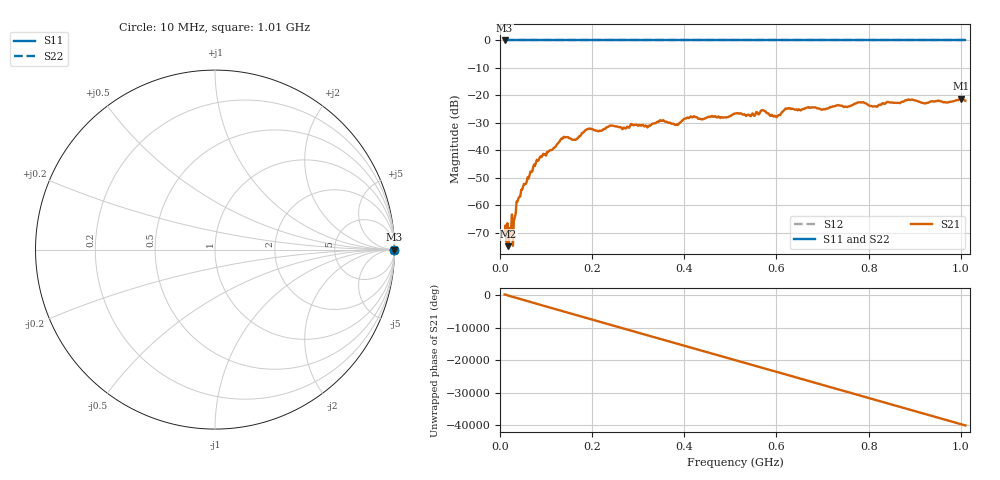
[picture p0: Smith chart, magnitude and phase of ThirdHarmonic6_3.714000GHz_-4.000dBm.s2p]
! 8/17/2025 12:39:07 PM
! C:\ANRITSUVNA\TEMP\TEMP.S2P
! CHANNEL.1
! TR.MEASUREMENT
! RAW.DATA
! RF.CORRECTION.OFF
! AVERAGING.OFF
! IF.BANDWIDTH: 5KHZ
! SWEEPTYPE:  FREQ.SWEEP(Linear)
! Reference Plane Port Info
! PORT:  PORT1  PORT2
! DISTANCE:  0  m  0  m
! TIME:  0  s  0  s
! PHASE.OFFSET:  0  deg.  0  deg.
! LOSS:  0  dB  0  dB
! REF.LOSS:  0  dB  0  dB
! REF.FREQ:  0  Hz  0  Hz
! Power Info
! POWER:  -20  dBm  -20  dBm
! EFF.POWER:  -20  dBm  -20  dBm
! SOURCE.ATTEN:  0  dB  0  dB
! TEST.ATTEN:  0  dB  0  dB
# GHZ S RI R 50.0
! FREQ.GHZ  S11RE  S11IM  S21RE  S21IM  S12RE  S12IM  S22RE  S22IM
!; PortSelection: Port_12
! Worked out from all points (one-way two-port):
!   501 points, 10 MHz to 1.01 GHz, reference 50 ohm
!   highest |S21| = -21.23 dB at 1 GHz (marker M1); lowest = -74.9 dB at 18 MHz (marker M2)
!   lowest |S11| = 0.0 dB at 10 MHz (marker M3)
!   |S11| at or under -10 dB: nowhere
!   |S22| runs from 0.0 to 0.0 dB; largest |S21 - S12| = 1.1
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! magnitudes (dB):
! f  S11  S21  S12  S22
! 10 MHz  0.0  -70.4  0.0  0.0
! 18 MHz  0.0  -74.9  0.0  0.0
! 32 MHz  0.0  -64.3  0.0  0.0
! 34 MHz  0.0  -63.1  0.0  0.0
! 40 MHz  0.0  -57.5  0.0  0.0
! 76 MHz  0.0  -45.7  0.0  0.0
! 136 MHz  0.0  -35.7  0.0  0.0
! 162 MHz  0.0  -36.1  0.0  0.0
! 178 MHz  0.0  -33.7  0.0  0.0
! 192 MHz  0.0  -32.1  0.0  0.0
! 322 MHz  0.0  -31.2  0.0  0.0
! 344 MHz  0.0  -29.6  0.0  0.0
! 384 MHz  0.0  -30.5  0.0  0.0
! 410 MHz  0.0  -28.2  0.0  0.0
! 510 MHz  0.0  -26.6  0.0  0.0
! 570 MHz  0.0  -25.3  0.0  0.0
! 598 MHz  0.0  -27.5  0.0  0.0
! 622 MHz  0.0  -24.9  0.0  0.0
! 678 MHz  0.0  -24.3  0.0  0.0
! 844 MHz  0.0  -22.5  0.0  0.0
! 1 GHz  0.0  -21.2  0.0  0.0
! 1.01 GHz  0.0  -21.9  0.0  0.0
